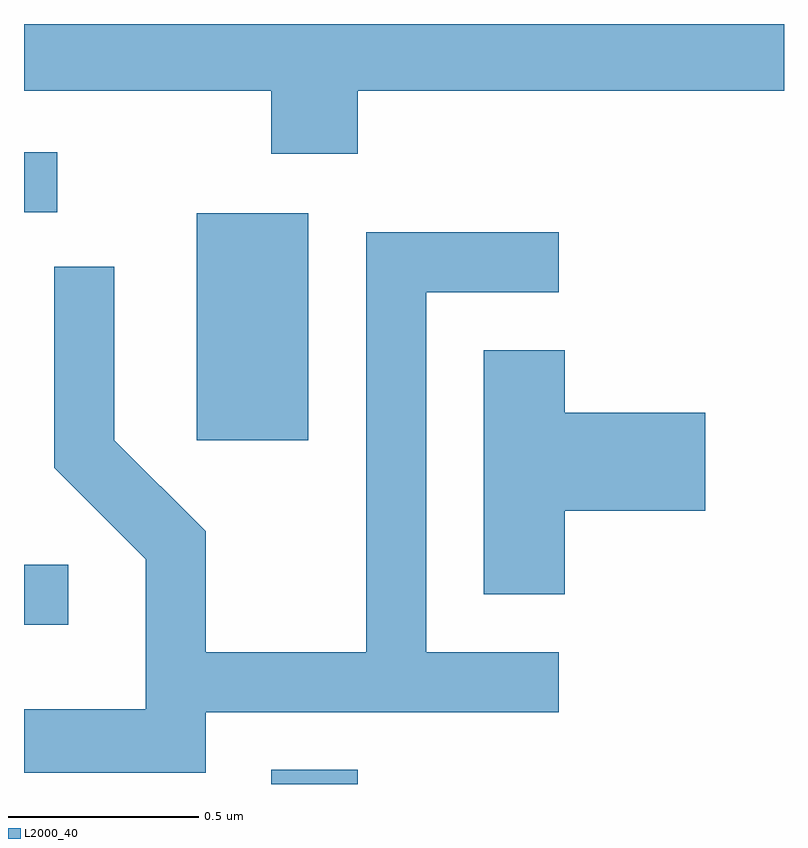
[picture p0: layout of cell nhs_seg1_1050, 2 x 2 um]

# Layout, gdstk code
import gdstk
lib = gdstk.Library(unit=1e-6, precision=1e-09)
def R(c, l, rs):  # rectangles x0, y0, x1, y1
    for r in rs: c.add(gdstk.rectangle(r[:2], r[2:], *l))
def P(c, l, *ps):  # polygons
    for p in ps: c.add(gdstk.Polygon(p, *l))
L2000_40 = (2000, 40)

nhs_seg1_1050 = lib.new_cell('nhs_seg1_1050')
R(nhs_seg1_1050, L2000_40, [(193.261,937.712,193.489,937.749), (192.611,938.131,192.728,938.289), (193.066,938.616,193.359,939.214), (192.611,939.216,192.698,939.374)])
P(nhs_seg1_1050, L2000_40, [(193.489,939.536),(194.611,939.536),(194.611,939.712),(192.611,939.712),(192.611,939.536),(193.261,939.536),(193.261,939.371),(193.489,939.371)],
  [(193.089,937.901),(194.018,937.901),(194.018,938.059),(193.669,938.059),(193.669,939.006),(194.018,939.006),(194.018,939.164),(193.511,939.164),(193.511,938.059),(193.089,938.059),(193.089,938.377),(192.849,938.617),(192.849,939.073),(192.691,939.073),(192.691,938.544),(192.931,938.304),(192.931,937.909),(192.611,937.909),(192.611,937.741),(193.089,937.741)],
  [(194.034,938.431),(194.404,938.431),(194.404,938.689),(194.034,938.689),(194.034,938.854),(193.821,938.854),(193.821,938.211),(194.034,938.211)])

lib.write_gds('nhs_seg1_1050.gds')
